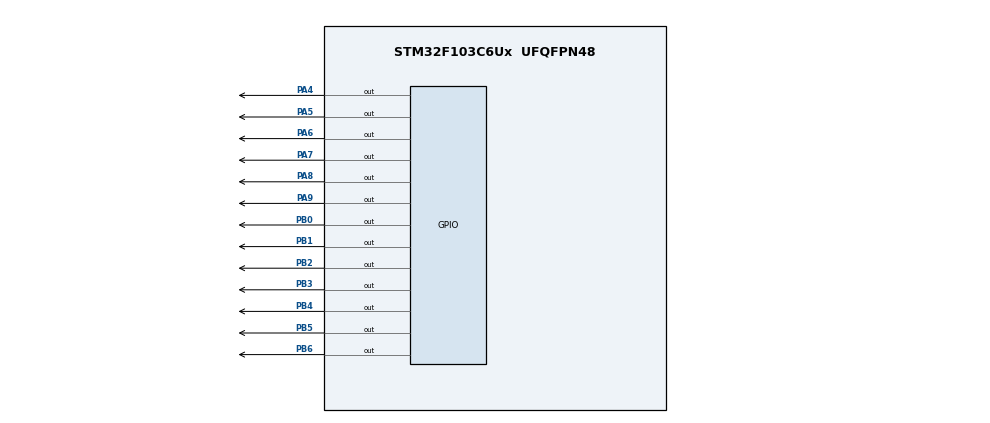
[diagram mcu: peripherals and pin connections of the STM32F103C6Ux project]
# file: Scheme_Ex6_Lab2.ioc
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Mcu.Family=STM32F1
Mcu.Name=STM32F103C6Ux
Mcu.Package=UFQFPN48
NVIC.PriorityGroup=NVIC_PRIORITYGROUP_4
NVIC.TIM2_IRQn=true\:0\:0\:false\:false\:true\:true\:true
PA13.Mode=Serial_Wire
PA13.Signal=SYS_JTMS-SWDIO
PA14.Mode=Serial_Wire
PA14.Signal=SYS_JTCK-SWCLK
PA4.Signal=GPIO_Output
PA5.Signal=GPIO_Output
PA6.Signal=GPIO_Output
PA7.Signal=GPIO_Output
PA8.Signal=GPIO_Output
PA9.Signal=GPIO_Output
PB0.Signal=GPIO_Output
PB1.Signal=GPIO_Output
PB2.Signal=GPIO_Output
PB3.Signal=GPIO_Output
PB4.Signal=GPIO_Output
PB5.Signal=GPIO_Output
PB6.Signal=GPIO_Output
ProjectManager.HeapSize=0x200
ProjectManager.StackSize=0x400
ProjectManager.TargetToolchain=STM32CubeIDE
RCC.APB1Freq_Value=8000000
RCC.APB2Freq_Value=8000000
TIM2.Period=9
TIM2.Prescaler=7999
VP_TIM2_VS_ClockSourceINT.Mode=Internal
board=custom

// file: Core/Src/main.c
/* USER CODE BEGIN Header */
/**
  ******************************************************************************
  * @file           : main.c
  * @brief          : Main program body - Exercise 6: Software Timer
  ******************************************************************************
  * @attention
  *
  * <h2><center>&copy; Copyright (c) 2026 STMicroelectronics.
  * All rights reserved.</center></h2>
  *
  * This software component is licensed by ST under BSD 3-Clause license,
  * the "License"; You may not use this file except in compliance with the
  * License. You may obtain a copy of the License at:
  *                        opensource.org/licenses/BSD-3-Clause
  *
  ******************************************************************************
  */
/* USER CODE END Header */
#include "main.h"

TIM_HandleTypeDef htim2;

/* USER CODE BEGIN PV */
/* Khai báo biến đếm và c�? hiệu cho Software Timer 0 */
int timer0_counter = 0;
int timer0_flag = 0;
int TIMER_CYCLE = 10; // Chu kỳ ngắt của Timer 2 phần cứng là 10ms
/* USER CODE END PV */

void SystemClock_Config(void);
static void MX_GPIO_Init(void);
static void MX_TIM2_Init(void);
/* USER CODE BEGIN PFP */
void setTimer0(int duration);
void timer_run(void);
/* USER CODE END PFP */

/* USER CODE BEGIN 0 */
/* Cài đặt th�?i gian đếm lùi cho Software Timer 0 */
void setTimer0(int duration) {
    timer0_counter = duration / TIMER_CYCLE;
    timer0_flag = 0;
}

/* Hàm xử lý giảm bộ đếm của Software Timer (g�?i trong hàm ngắt) */
void timer_run(void) {
    if (timer0_counter > 0) {
        timer0_counter--;
        if (timer0_counter == 0) {
            timer0_flag = 1;
        }
    }
}
/* USER CODE END 0 */

int main(void)
{

  /* MCU Configuration--------------------------------------------------------*/

  /* Reset of all peripherals, Initializes the Flash interface and the Systick. */
  HAL_Init();

  /* Configure the system clock */
  SystemClock_Config();

  /* Initialize all configured peripherals */
  MX_GPIO_Init();
  MX_TIM2_Init();
  /* USER CODE BEGIN 2 */
  /* Bật ngắt phần cứng Timer 2 */
  HAL_TIM_Base_Start_IT(&htim2);

  /* Khởi tạo lần đầu: hẹn gi�? 1000ms cho LED PA5 */
  setTimer0(1000);
  /* USER CODE END 2 */

  /* Infinite loop */
  while (1)
  {

    /* USER CODE BEGIN 3 */
    /* Kiểm tra khi c�? timer0_flag được dựng lên mức 1 */
    if (timer0_flag == 1) {
        // �?ảo trạng thái đèn LED đ�? nối chân PA5
        HAL_GPIO_TogglePin(GPIOA, GPIO_PIN_5);

        // Cài đặt lại Software Timer cho chu kỳ kế tiếp là 2000ms
        setTimer0(2000);
    }
  }
  /* USER CODE END 3 */
}

void SystemClock_Config(void)
{
  RCC_OscInitTypeDef RCC_OscInitStruct = {0};
  RCC_ClkInitTypeDef RCC_ClkInitStruct = {0};

  /** Initializes the RCC Oscillators according to the specified parameters
  * in the RCC_OscInitTypeDef structure.
  */
  RCC_OscInitStruct.OscillatorType = RCC_OSCILLATORTYPE_HSI;
  RCC_OscInitStruct.HSIState = RCC_HSI_ON;
  RCC_OscInitStruct.HSICalibrationValue = RCC_HSICALIBRATION_DEFAULT;
  RCC_OscInitStruct.PLL.PLLState = RCC_PLL_NONE;
  if (HAL_RCC_OscConfig(&RCC_OscInitStruct) != HAL_OK)
  {
    Error_Handler();
  }
  /** Initializes the CPU, AHB and APB buses clocks
  */
  RCC_ClkInitStruct.ClockType = RCC_CLOCKTYPE_HCLK|RCC_CLOCKTYPE_SYSCLK
                              |RCC_CLOCKTYPE_PCLK1|RCC_CLOCKTYPE_PCLK2;
  RCC_ClkInitStruct.SYSCLKSource = RCC_SYSCLKSOURCE_HSI;
  RCC_ClkInitStruct.AHBCLKDivider = RCC_SYSCLK_DIV1;
  RCC_ClkInitStruct.APB1CLKDivider = RCC_HCLK_DIV1;
  RCC_ClkInitStruct.APB2CLKDivider = RCC_HCLK_DIV1;

  if (HAL_RCC_ClockConfig(&RCC_ClkInitStruct, FLASH_LATENCY_0) != HAL_OK)
  {
    Error_Handler();
  }
}

static void MX_TIM2_Init(void)
{

  TIM_ClockConfigTypeDef sClockSourceConfig = {0};
  TIM_MasterConfigTypeDef sMasterConfig = {0};

  htim2.Instance = TIM2;
  htim2.Init.Prescaler = 7999;
  htim2.Init.CounterMode = TIM_COUNTERMODE_UP;
  htim2.Init.Period = 9;
  htim2.Init.ClockDivision = TIM_CLOCKDIVISION_DIV1;
  htim2.Init.AutoReloadPreload = TIM_AUTORELOAD_PRELOAD_DISABLE;
  if (HAL_TIM_Base_Init(&htim2) != HAL_OK)
  {
    Error_Handler();
  }
  sClockSourceConfig.ClockSource = TIM_CLOCKSOURCE_INTERNAL;
  if (HAL_TIM_ConfigClockSource(&htim2, &sClockSourceConfig) != HAL_OK)
  {
    Error_Handler();
  }
  sMasterConfig.MasterOutputTrigger = TIM_TRGO_RESET;
  sMasterConfig.MasterSlaveMode = TIM_MASTERSLAVEMODE_DISABLE;
  if (HAL_TIMEx_MasterConfigSynchronization(&htim2, &sMasterConfig) != HAL_OK)
  {
    Error_Handler();
  }
  /* USER CODE BEGIN TIM2_Init 2 */
  /* Bật ngắt NVIC cho Timer 2 */
  HAL_NVIC_SetPriority(TIM2_IRQn, 0, 0);
  HAL_NVIC_EnableIRQ(TIM2_IRQn);
  /* USER CODE END TIM2_Init 2 */

}

static void MX_GPIO_Init(void)
{
  GPIO_InitTypeDef GPIO_InitStruct = {0};

  /* GPIO Ports Clock Enable */
  __HAL_RCC_GPIOA_CLK_ENABLE();
  __HAL_RCC_GPIOB_CLK_ENABLE();

  /*Configure GPIO pin Output Level */
  HAL_GPIO_WritePin(GPIOA, GPIO_PIN_4|GPIO_PIN_5|GPIO_PIN_6|GPIO_PIN_7
                          |GPIO_PIN_8|GPIO_PIN_9, GPIO_PIN_RESET);

  /*Configure GPIO pin Output Level */
  HAL_GPIO_WritePin(GPIOB, GPIO_PIN_0|GPIO_PIN_1|GPIO_PIN_2|GPIO_PIN_3
                          |GPIO_PIN_4|GPIO_PIN_5|GPIO_PIN_6, GPIO_PIN_RESET);

  /*Configure GPIO pins : PA4 PA5 PA6 PA7
                           PA8 PA9 */
  GPIO_InitStruct.Pin = GPIO_PIN_4|GPIO_PIN_5|GPIO_PIN_6|GPIO_PIN_7
                          |GPIO_PIN_8|GPIO_PIN_9;
  GPIO_InitStruct.Mode = GPIO_MODE_OUTPUT_PP;
  GPIO_InitStruct.Pull = GPIO_NOPULL;
  GPIO_InitStruct.Speed = GPIO_SPEED_FREQ_LOW;
  HAL_GPIO_Init(GPIOA, &GPIO_InitStruct);

  /*Configure GPIO pins : PB0 PB1 PB2 PB3
                           PB4 PB5 PB6 */
  GPIO_InitStruct.Pin = GPIO_PIN_0|GPIO_PIN_1|GPIO_PIN_2|GPIO_PIN_3
                          |GPIO_PIN_4|GPIO_PIN_5|GPIO_PIN_6;
  GPIO_InitStruct.Mode = GPIO_MODE_OUTPUT_PP;
  GPIO_InitStruct.Pull = GPIO_NOPULL;
  GPIO_InitStruct.Speed = GPIO_SPEED_FREQ_LOW;
  HAL_GPIO_Init(GPIOB, &GPIO_InitStruct);

}

/* USER CODE BEGIN 4 */
/* Callback ngắt Timer: chỉ chạy hàm giảm bộ đếm Software Timer */
void HAL_TIM_PeriodElapsedCallback(TIM_HandleTypeDef *htim)
{
  if (htim->Instance == TIM2)
  {
    timer_run();
  }
}
/* USER CODE END 4 */

void Error_Handler(void)
{
  __disable_irq();
  while (1)
  {
  }
}

/************************ (C) COPYRIGHT STMicroelectronics *****END OF FILE****/
